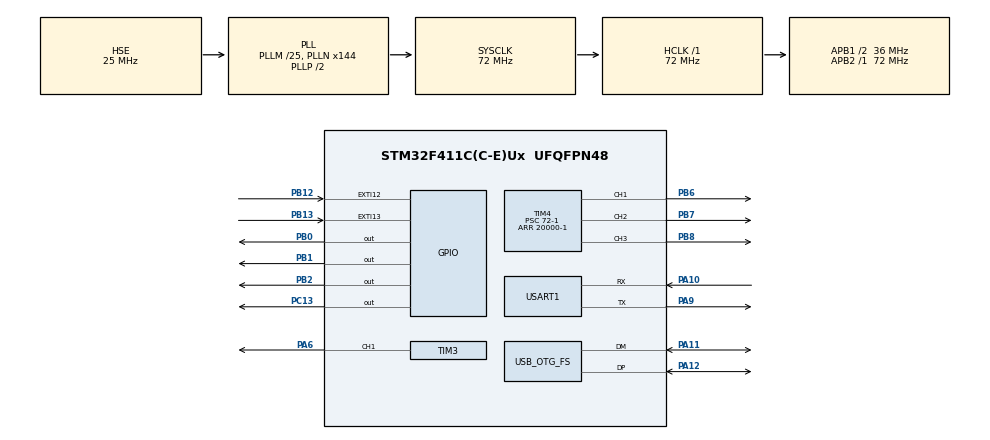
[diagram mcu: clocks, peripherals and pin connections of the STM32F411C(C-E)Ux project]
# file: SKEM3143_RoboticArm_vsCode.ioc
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Dma.Request0=USART1_RX
Dma.Request1=USART1_TX
Dma.USART1_RX.0.Direction=DMA_PERIPH_TO_MEMORY
Dma.USART1_RX.0.FIFOMode=DMA_FIFOMODE_DISABLE
Dma.USART1_RX.0.Instance=DMA2_Stream2
Dma.USART1_RX.0.MemDataAlignment=DMA_MDATAALIGN_BYTE
Dma.USART1_RX.0.MemInc=DMA_MINC_ENABLE
Dma.USART1_RX.0.Mode=DMA_NORMAL
Dma.USART1_RX.0.PeriphDataAlignment=DMA_PDATAALIGN_BYTE
Dma.USART1_RX.0.PeriphInc=DMA_PINC_DISABLE
Dma.USART1_RX.0.Priority=DMA_PRIORITY_LOW
Dma.USART1_TX.1.Direction=DMA_MEMORY_TO_PERIPH
Dma.USART1_TX.1.FIFOMode=DMA_FIFOMODE_DISABLE
Dma.USART1_TX.1.Instance=DMA2_Stream7
Dma.USART1_TX.1.MemDataAlignment=DMA_MDATAALIGN_BYTE
Dma.USART1_TX.1.MemInc=DMA_MINC_ENABLE
Dma.USART1_TX.1.Mode=DMA_CIRCULAR
Dma.USART1_TX.1.PeriphDataAlignment=DMA_PDATAALIGN_BYTE
Dma.USART1_TX.1.PeriphInc=DMA_PINC_DISABLE
Dma.USART1_TX.1.Priority=DMA_PRIORITY_LOW
FREERTOS.Tasks01=MainTask,24,128,StartMainTask,As weak,NULL,Static,MainTaskBuffer,MainTaskControlBlock;Vofa_Task,24,128,StartVofaTask,As weak,NULL,Static,Vofa_TaskBuffer,Vofa_TaskControlBlock
Mcu.Family=STM32F4
Mcu.Name=STM32F411C(C-E)Ux
Mcu.Package=UFQFPN48
NVIC.DMA2_Stream2_IRQn=true\:5\:0\:false\:false\:true\:true\:false\:true\:true
NVIC.DMA2_Stream7_IRQn=true\:5\:0\:false\:false\:true\:true\:false\:true\:true
NVIC.OTG_FS_IRQn=true\:5\:0\:false\:false\:true\:true\:true\:true\:true
NVIC.PriorityGroup=NVIC_PRIORITYGROUP_4
NVIC.TIM1_BRK_TIM9_IRQn=true\:5\:0\:false\:false\:true\:true\:true\:true\:true
NVIC.TIM1_TRG_COM_TIM11_IRQn=true\:15\:0\:false\:false\:true\:false\:false\:true\:true
NVIC.TIM5_IRQn=true\:5\:0\:false\:false\:true\:true\:true\:true\:true
NVIC.TimeBase=TIM1_TRG_COM_TIM11_IRQn
NVIC.TimeBaseIP=TIM11
NVIC.USART1_IRQn=true\:5\:0\:false\:false\:true\:true\:true\:true\:true
PA10.Mode=Asynchronous
PA10.Signal=USART1_RX
PA11.Mode=Device_Only
PA11.Signal=USB_OTG_FS_DM
PA12.Mode=Device_Only
PA12.Signal=USB_OTG_FS_DP
PA13.Mode=Serial_Wire
PA13.Signal=SYS_JTMS-SWDIO
PA14.Mode=Serial_Wire
PA14.Signal=SYS_JTCK-SWCLK
PA6.Signal=S_TIM3_CH1
PA9.Mode=Asynchronous
PA9.Signal=USART1_TX
PB0.Signal=GPIO_Output
PB1.Signal=GPIO_Output
PB12.Signal=GPXTI12
PB13.Signal=GPXTI13
PB2.Signal=GPIO_Output
PB6.Signal=S_TIM4_CH1
PB7.Signal=S_TIM4_CH2
PB8.Signal=S_TIM4_CH3
PC13-ANTI_TAMP.Signal=GPIO_Output
PH0\ -\ OSC_IN.Mode=HSE-External-Oscillator
PH0\ -\ OSC_IN.Signal=RCC_OSC_IN
PH1\ -\ OSC_OUT.Mode=HSE-External-Oscillator
PH1\ -\ OSC_OUT.Signal=RCC_OSC_OUT
ProjectManager.HeapSize=0x400
ProjectManager.StackSize=0x600
ProjectManager.TargetToolchain=CMake
RCC.48MHZClocksFreq_Value=48000000
RCC.AHBFreq_Value=72000000
RCC.APB1CLKDivider=RCC_HCLK_DIV2
RCC.APB1Freq_Value=36000000
RCC.APB1TimFreq_Value=72000000
RCC.APB2Freq_Value=72000000
RCC.APB2TimFreq_Value=72000000
RCC.CortexFreq_Value=72000000
RCC.HCLKFreq_Value=72000000
RCC.HSE_VALUE=25000000
RCC.HSI_VALUE=16000000
RCC.LSE_VALUE=32768
RCC.PLLM=25
RCC.PLLN=144
RCC.PLLQ=3
RCC.SYSCLKFreq_VALUE=72000000
RCC.SYSCLKSource=RCC_SYSCLKSOURCE_PLLCLK
RCC.VCOOutputFreq_Value=144000000
SH.S_TIM3_CH1.0=TIM3_CH1,PWM Generation1 CH1
SH.S_TIM4_CH1.0=TIM4_CH1,PWM Generation1 CH1
SH.S_TIM4_CH2.0=TIM4_CH2,PWM Generation2 CH2
SH.S_TIM4_CH3.0=TIM4_CH3,PWM Generation3 CH3
TIM3.Channel-PWM\ Generation1\ CH1=TIM_CHANNEL_1
TIM3.Period=20000-1
TIM3.Prescaler=72-1
TIM4.Channel-PWM\ Generation1\ CH1=TIM_CHANNEL_1
TIM4.Channel-PWM\ Generation2\ CH2=TIM_CHANNEL_2
TIM4.Channel-PWM\ Generation3\ CH3=TIM_CHANNEL_3
TIM4.Period=20000-1
TIM4.Prescaler=72-1
TIM5.Period=5000-1
TIM5.Prescaler=72-1
TIM9.Period=5000-1
TIM9.Prescaler=72-1
USART1.VirtualMode=VM_ASYNC
USB_DEVICE.CLASS_NAME_FS=CDC
USB_DEVICE.VirtualMode=Cdc
USB_DEVICE.VirtualModeFS=Cdc_FS
USB_OTG_FS.VirtualMode=Device_Only
VP_FREERTOS_VS_CMSIS_V2.Mode=CMSIS_V2
VP_SYS_VS_tim11.Mode=TIM11
VP_TIM3_VS_ClockSourceINT.Mode=Internal
VP_TIM4_VS_ClockSourceINT.Mode=Internal
VP_TIM5_VS_ClockSourceINT.Mode=Internal
VP_TIM9_VS_ClockSourceINT.Mode=Internal
VP_USB_DEVICE_VS_USB_DEVICE_CDC_FS.Mode=CDC_FS
board=custom

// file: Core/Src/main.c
/* USER CODE BEGIN Header */
/**
  ******************************************************************************
  * @file           : main.c
  * @brief          : Main program body
  ******************************************************************************
  * @attention
  *
  * Copyright (c) 2025 STMicroelectronics.
  * All rights reserved.
  *
  * This software is licensed under terms that can be found in the LICENSE file
  * in the root directory of this software component.
  * If no LICENSE file comes with this software, it is provided AS-IS.
  *
  ******************************************************************************
  */
/* USER CODE END Header */
#include "main.h"
#include "cmsis_os.h"
#include "dma.h"
#include "tim.h"
#include "usart.h"
#include "usb_device.h"
#include "gpio.h"

/* USER CODE BEGIN Includes */
#include "Bsp_led.h"
#include "Bsp_delay.h"
#include "Bsp_timer.h"
#include "Bsp_usart.h"
#include "Bsp_pwm.h"
#include "PWM_Servo.h"
#include "PWM_Suction.h"
#include "Inverse_Kinematics.h"
#include "Forward_Kinematics.h"
#include "RRR_Bot.h"
#include "user_lib.h"
/* USER CODE END Includes */

void SystemClock_Config(void);
void MX_FREERTOS_Init(void);

int main(void)
{

  /* MCU Configuration--------------------------------------------------------*/

  /* Reset of all peripherals, Initializes the Flash interface and the Systick. */
  HAL_Init();

  /* Configure the system clock */
  SystemClock_Config();

  /* Initialize all configured peripherals */
  MX_GPIO_Init();
  MX_DMA_Init();
  MX_TIM3_Init();
  MX_TIM4_Init();
  MX_USART1_UART_Init();
  MX_TIM5_Init();
  MX_TIM9_Init();
  /* USER CODE BEGIN 2 */
  BSP_USART_IDLE_DMA_INIT(&huart1);
  BSP_LED_Init();
  BSP_Timer_Init();
  PWM_Servo_Init(&Servo1, &htim4, TIM_CHANNEL_1, 1);
  PWM_Servo_Init(&Servo2, &htim4, TIM_CHANNEL_2, 2);
  PWM_Servo_Init(&Servo3, &htim4, TIM_CHANNEL_3, 3);
  PWM_Suction_Init(&Suction1, &htim3, TIM_CHANNEL_1, 1);
  /* USER CODE END 2 */

  /* Init scheduler */
  osKernelInitialize();

  /* Call init function for freertos objects (in cmsis_os2.c) */
  MX_FREERTOS_Init();

  /* Start scheduler */
  osKernelStart();

  /* We should never get here as control is now taken by the scheduler */

  /* Infinite loop */
  while (1)
  {

  }
}

void SystemClock_Config(void)
{
  RCC_OscInitTypeDef RCC_OscInitStruct = {0};
  RCC_ClkInitTypeDef RCC_ClkInitStruct = {0};

  /** Configure the main internal regulator output voltage
  */
  __HAL_RCC_PWR_CLK_ENABLE();
  __HAL_PWR_VOLTAGESCALING_CONFIG(PWR_REGULATOR_VOLTAGE_SCALE1);

  /** Initializes the RCC Oscillators according to the specified parameters
  * in the RCC_OscInitTypeDef structure.
  */
  RCC_OscInitStruct.OscillatorType = RCC_OSCILLATORTYPE_HSE;
  RCC_OscInitStruct.HSEState = RCC_HSE_ON;
  RCC_OscInitStruct.PLL.PLLState = RCC_PLL_ON;
  RCC_OscInitStruct.PLL.PLLSource = RCC_PLLSOURCE_HSE;
  RCC_OscInitStruct.PLL.PLLM = 25;
  RCC_OscInitStruct.PLL.PLLN = 144;
  RCC_OscInitStruct.PLL.PLLP = RCC_PLLP_DIV2;
  RCC_OscInitStruct.PLL.PLLQ = 3;
  if (HAL_RCC_OscConfig(&RCC_OscInitStruct) != HAL_OK)
  {
    Error_Handler();
  }

  /** Initializes the CPU, AHB and APB buses clocks
  */
  RCC_ClkInitStruct.ClockType = RCC_CLOCKTYPE_HCLK|RCC_CLOCKTYPE_SYSCLK
                              |RCC_CLOCKTYPE_PCLK1|RCC_CLOCKTYPE_PCLK2;
  RCC_ClkInitStruct.SYSCLKSource = RCC_SYSCLKSOURCE_PLLCLK;
  RCC_ClkInitStruct.AHBCLKDivider = RCC_SYSCLK_DIV1;
  RCC_ClkInitStruct.APB1CLKDivider = RCC_HCLK_DIV2;
  RCC_ClkInitStruct.APB2CLKDivider = RCC_HCLK_DIV1;

  if (HAL_RCC_ClockConfig(&RCC_ClkInitStruct, FLASH_LATENCY_2) != HAL_OK)
  {
    Error_Handler();
  }
}

void HAL_TIM_PeriodElapsedCallback(TIM_HandleTypeDef *htim)
{
  if (htim->Instance == TIM11) {
    HAL_IncTick();
  }
  /* USER CODE BEGIN Callback 1 */
  BSP_Timer_Handler(htim);

  /* USER CODE END Callback 1 */
}

void Error_Handler(void)
{
  __disable_irq();
  while (1)
  {
  }
}
